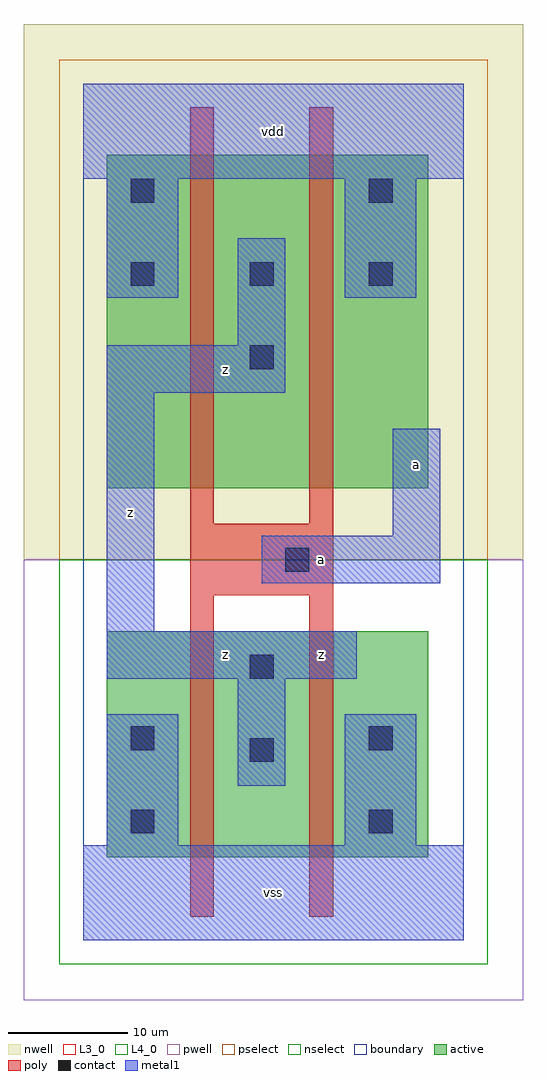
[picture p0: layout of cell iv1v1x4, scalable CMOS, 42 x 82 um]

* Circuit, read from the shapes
.subckt iv1v1x4 a vdd vss z
M1 z a vss VSUBS nfet w=19u l=2u m=2
M2 z a vdd n1 pfet w=28u l=2u m=2
.ends

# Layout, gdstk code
import gdstk
lib = gdstk.Library(unit=1e-6, precision=1e-09)
def R(c, l, rs):  # rectangles x0, y0, x1, y1
    for r in rs: c.add(gdstk.rectangle(r[:2], r[2:], *l))
def A(c, l, x, y, w, h, nx, ny, dx, dy):  # array of equal rectangles
    R(c, l, [(x+i*dx, y+j*dy, x+i*dx+w, y+j*dy+h) for i in range(nx) for j in range(ny)])
L3_0 = (3, 0)
L4_0 = (4, 0)
contact = (25, 0)
pwell = (41, 0)
nwell = (42, 0)
active = (43, 0)
pselect = (44, 0)
nselect = (45, 0)
poly = (46, 0)
metal1 = (49, 0)
boundary = (63, 0)

iv1v1x4 = lib.new_cell('iv1v1x4')
R(iv1v1x4, L3_0, [(2,7,29,26)])
R(iv1v1x4, L4_0, [(2,38,29,66)])
A(iv1v1x4, contact, 4, 55, 2, 2, 3, 1, 10, 0)
R(iv1v1x4, contact, [(4,9,6,11), (24,9,26,11), (14,15,16,17), (4,16,6,18), (24,16,26,18), (14,22,16,24), (17,31,19,33), (14,48,16,50), (4,62,6,64), (24,62,26,64)])
R(iv1v1x4, pwell, [(-5,-5,37,32)])
R(iv1v1x4, nwell, [(-5,32,37,77)])
R(iv1v1x4, active, [(2,7,29,26), (2,38,29,66)])
R(iv1v1x4, pselect, [(-2,32,34,74)])
R(iv1v1x4, nselect, [(-2,-2,34,32)])
R(iv1v1x4, poly, [(9,2,11,29), (19,2,21,29), (9,29,21,35), (9,35,11,70), (19,35,21,70)])
R(iv1v1x4, metal1, [(0,0,32,8), (2,8,8,19), (22,8,28,19), (13,13,17,22), (2,22,23,26), (2,26,6,46), (15,30,30,34), (26,34,30,43), (2,46,17,50), (13,50,17,59), (2,54,8,64), (22,54,28,64), (0,64,32,72)])
R(iv1v1x4, boundary, [(0,0,32,72)])
iv1v1x4.add(gdstk.Label('z', (4,36), layer=49, texttype=0))
iv1v1x4.add(gdstk.Label('z', (12,24), layer=49, texttype=0))
iv1v1x4.add(gdstk.Label('z', (12,48), layer=49, texttype=0))
iv1v1x4.add(gdstk.Label('vss', (16,4), layer=49, texttype=0))
iv1v1x4.add(gdstk.Label('a', (20,32), layer=49, texttype=0))
iv1v1x4.add(gdstk.Label('z', (20,24), layer=49, texttype=0))
iv1v1x4.add(gdstk.Label('vdd', (16,68), layer=49, texttype=0))
iv1v1x4.add(gdstk.Label('a', (28,40), layer=49, texttype=0))

lib.write_gds('iv1v1x4.gds')
